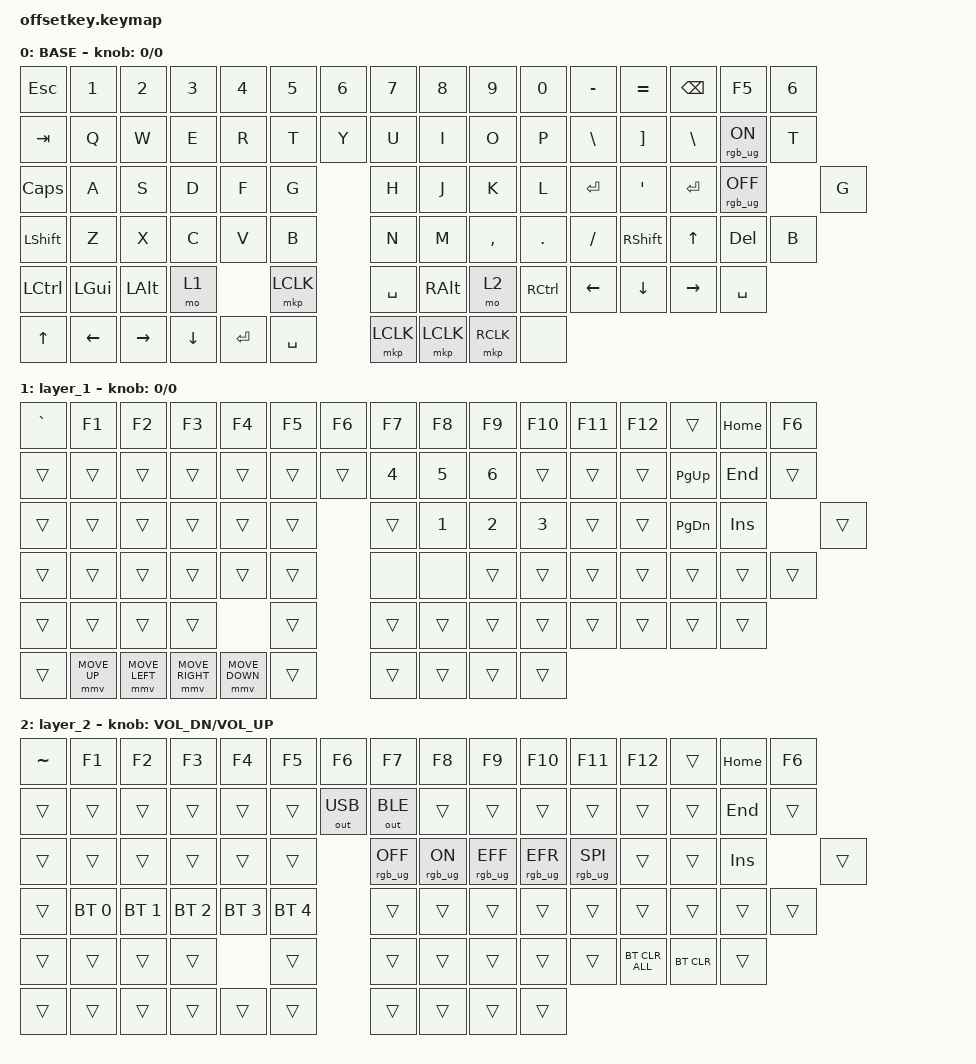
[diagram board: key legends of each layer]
#define BASE 0
#define LOWER 1
#define RAISE 2

#include <behaviors.dtsi>
#include <dt-bindings/zmk/keys.h>
#include <dt-bindings/zmk/pointing.h>
#include <dt-bindings/zmk/bt.h>
#include <dt-bindings/zmk/rgb.h>
#include <dt-bindings/zmk/outputs.h>

/ {
    scroll_encoder: scroll_encoder {
        compatible = "zmk,behavior-sensor-rotate";
        #sensor-binding-cells = <0>;
        bindings = <&msc SCRL_UP>, <&msc SCRL_DOWN>;
    };

    keymap {
        compatible = "zmk,keymap";

        BASE {
            bindings = <
&kp ESC    &kp N1    &kp N2    &kp N3    &kp N4    &kp N5    &kp N6    &kp N7    &kp N8    &kp N9    &kp N0    &kp MINUS &kp EQUAL &kp BSPC  &kp F5    &kp N6
&kp TAB    &kp Q     &kp W     &kp E     &kp R     &kp T               &kp Y     &kp U     &kp I     &kp O     &kp P     &kp BSLH  &kp RBKT  &kp BSLH  &rgb_ug RGB_ON &kp T
&kp CAPS   &kp A     &kp S     &kp D     &kp F     &kp G               &kp H     &kp J     &kp K     &kp L     &kp ENTER &kp APOS  &kp ENTER &rgb_ug RGB_OFF &kp G
&kp LSHFT  &kp Z     &kp X     &kp C     &kp V     &kp B               &kp N     &kp M     &kp COMMA &kp DOT   &kp FSLH  &kp RSHFT &kp UP    &kp DEL   &kp B
&kp LCTRL  &kp LGUI  &kp LALT  &mo 1               &mkp LCLK           &kp SPACE &kp RALT  &mo 2     &kp RCTRL &kp LEFT  &kp DOWN  &kp RIGHT &kp SPACE
&kp UP     &kp LEFT  &kp RIGHT &kp DOWN  &kp ENTER &kp SPACE           &mkp LCLK &mkp LCLK &mkp RCLK &none
            >;
            sensor-bindings = <&scroll_encoder 0 0>;
        };

        layer_1 {
            bindings = <
&kp GRAVE  &kp F1    &kp F2    &kp F3    &kp F4    &kp F5    &kp F6    &kp F7    &kp F8    &kp F9    &kp F10   &kp F11   &kp F12   &trans    &kp HOME  &kp F6
&trans     &trans    &trans    &trans    &trans    &trans              &trans    &kp N4    &kp N5    &kp N6    &trans    &trans    &trans    &kp PG_UP &kp END   &trans
&trans     &trans    &trans    &trans    &trans    &trans              &trans    &kp N1    &kp N2    &kp N3    &trans    &trans    &kp PG_DN &kp INS   &trans
&trans     &trans    &trans    &trans    &trans    &trans              &none     &none     &trans    &trans    &trans    &trans    &trans    &trans    &trans
&trans     &trans    &trans    &trans              &trans              &trans    &trans    &trans    &trans    &trans    &trans    &trans    &trans
&trans     &mmv MOVE_UP &mmv MOVE_LEFT &mmv MOVE_RIGHT &mmv MOVE_DOWN &trans &trans &trans &trans &trans
            >;
            sensor-bindings = <&scroll_encoder 0 0>;
        };

        layer_2 {
            bindings = <
&kp TILDE  &kp F1    &kp F2    &kp F3    &kp F4    &kp F5    &kp F6    &kp F7    &kp F8    &kp F9    &kp F10   &kp F11   &kp F12   &trans    &kp HOME  &kp F6
&trans     &trans    &trans    &trans    &trans    &trans              &out OUT_USB &out OUT_BLE &trans &trans &trans &trans &trans &trans &kp END &trans
&trans     &trans    &trans    &trans    &trans    &trans              &rgb_ug RGB_OFF &rgb_ug RGB_ON &rgb_ug RGB_EFF &rgb_ug RGB_EFR &rgb_ug RGB_SPI &trans &trans &kp INS &trans
&trans     &bt BT_SEL 0 &bt BT_SEL 1 &bt BT_SEL 2 &bt BT_SEL 3 &bt BT_SEL 4 &trans &trans &trans &trans &trans &trans &trans &trans &trans
&trans     &trans    &trans    &trans              &trans              &trans    &trans    &trans    &trans    &trans    &bt BT_CLR_ALL &bt BT_CLR &trans
&trans     &trans    &trans    &trans    &trans    &trans              &trans    &trans    &trans    &trans
            >;
            sensor-bindings = <&inc_dec_kp C_VOL_DN C_VOL_UP>;
        };
    };
};
